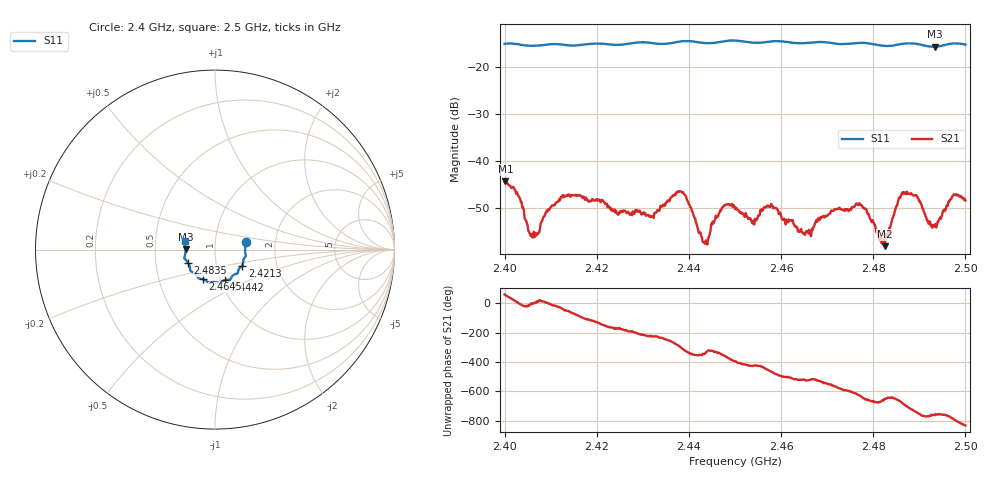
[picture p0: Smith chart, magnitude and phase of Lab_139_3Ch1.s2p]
# Hz S RI R 50
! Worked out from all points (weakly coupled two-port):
!   601 points, 2.4 GHz to 2.5 GHz, reference 50 ohm
!   highest |S21| = -44.37 dB at 2.4002 GHz (marker M1); lowest = -58.2 dB at 2.4825 GHz (marker M2)
!   lowest |S11| = -15.7 dB at 2.4933 GHz (marker M3), VSWR 1.39, Z = 35.9 + j0.0919 ohm
!   |S11| at or under -10 dB: start of sweep to end of sweep
!   S12 and S22 are empty: the file has one direction only
!   S11 on the Smith chart (normalised r, x): 2.4 GHz: 1.41, +0.12; 2.4213 GHz: 1.33, -0.25; 2.4442 GHz: 1.05, -0.37; 2.4645 GHz: 0.83, -0.29; 2.4835 GHz: 0.73, -0.11; 2.5 GHz: 0.71, +0.07
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2.4e9  0.1712 0.0401  0.00302 0.00508  0 0  0 0
2.400167e9  0.172 0.0397  0.0034 0.005  0 0  0 0
2.406e9  0.1677 -0.00175  0.00152 1.74e-06  0 0  0 0
2.412167e9  0.1692 -0.0382  0.00345 -0.00213  0 0  0 0
2.416667e9  0.1567 -0.0699  -0.000369 -0.0042  0 0  0 0
2.421333e9  0.152 -0.0896  -0.00317 -0.002  0 0  0 0
2.433333e9  0.1084 -0.1384  -0.00197 0.00222  0 0  0 0
2.4385e9  0.0856 -0.1667  0.00282 0.00358  0 0  0 0
2.444167e9  0.0565 -0.1694  0.00118 0.000891  0 0  0 0
2.45e9  0.0253 -0.189  0.00247 -0.00176  0 0  0 0
2.454167e9  -5.74e-05 -0.1808  0.000857 -0.0019  0 0  0 0
2.458333e9  -0.0299 -0.1851  -0.00126 -0.00283  0 0  0 0
2.4645e9  -0.0658 -0.1658  -0.00165 -0.000511  0 0  0 0
2.466667e9  -0.0827 -0.162  -0.00173 -0.000727  0 0  0 0
2.476833e9  -0.1342 -0.12  -0.000241 0.00336  0 0  0 0
2.4825e9  -0.1445 -0.0841  0.000518 0.00111  0 0  0 0
2.483333e9  -0.1489 -0.075  0.000407 0.00164  0 0  0 0
2.4835e9  -0.15 -0.0735  0.000499 0.00186  0 0  0 0
2.486833e9  -0.1696 -0.0511  0.00412 0.002  0 0  0 0
2.493333e9  -0.1636 0.00124  0.00143 -0.00138  0 0  0 0
2.4975e9  -0.174 0.0378  0.00135 -0.00417  0 0  0 0
2.5e9  -0.1652 0.0504  -0.00148 -0.00346  0 0  0 0
